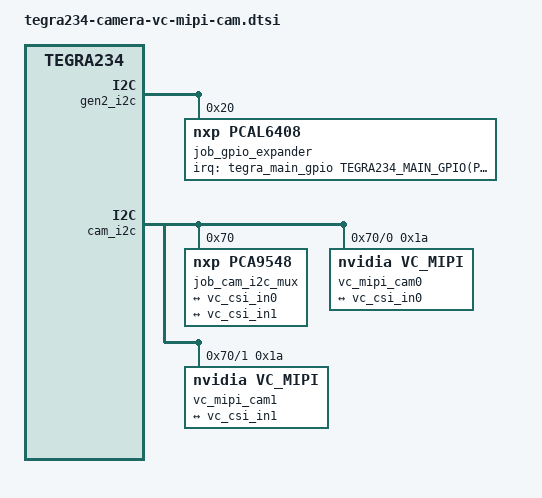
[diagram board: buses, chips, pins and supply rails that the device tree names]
/*
 * Copyright (c) 2024, Vision Components GmbH.  All rights reserved.
 *
 * This program is free software; you can redistribute it and/or modify
 * it under the terms of the GNU General Public License as published by
 * the Free Software Foundation; either version 2 of the License, or
 * (at your option) any later version.
 *
 * This program is distributed in the hope that it will be useful, but WITHOUT
 * ANY WARRANTY; without even the implied warranty of MERCHANTABILITY or
 * FITNESS FOR A PARTICULAR PURPOSE.  See the GNU General Public License for
 * more details.
 *
 * You should have received a copy of the GNU General Public License
 * along with this program.  If not, see <http://www.gnu.org/licenses/>.
 */

#include <dt-bindings/media/camera.h>
#include <dt-bindings/pinctrl/pinctrl-tegra.h>

// ------------------------------------------------------------------------------------------------
//  Driver Configuration for NVIDIA Jetson Orin NX on Auvidea JNX42 LM Developer Kit
// ------------------------------------------------------------------------------------------------
#define VC_MIPI_CAM_0       1   // 1: Enabled, 0: Disabled  (serial_a => CSI Port 0 => VI Stream 0)
#define VC_MIPI_CAM_1       1   // 1: Enabled, 0: Disabled  (serial_c => CSI Port 2 => VI Stream 2)
// ------------------------------------------------------------------------------------------------
//  Supported number of lanes
// -----+------------------------------------------------------------------------------------------
//  1   | OV7251, IMX296, IMX297
//  2   | OV9281, IMX264, IMX265
//  2,4 | IMX178, IMX183, IMX226, IMX250, IMX252, IMX273, IMX290, IMX327, IMX335, IMX392, 
//      | IMX412, IMX415, IMX462, IMX565, IMX566, IMX567, IMX568, IMX900
// -----+------------------------------------------------------------------------------------------
#define VC_MIPI_LANES       4   // 1, 2, 4 Lanes
// ------------------------------------------------------------------------------------------------
//  Embedded Metadata Height
// -----+------------------------------------------------------------------------------------------
//  0   | IMX178, IMX183, IMX226, IMX250, IMX252, IMX264, IMX265, IMX273, IMX392, OV7251, OV9281
//  1   | IMX290, IMX327, IMX335, IMX415, IMX462, IMX900
//  2   | IMX296, IMX297, IMX412
//  4   | IMX565, IMX566, IMX567, IMX568
// -----+------------------------------------------------------------------------------------------
#define VC_MIPI_METADATA_H  "2" // "0", "1", "2", "4" Lines of meta data
// ------------------------------------------------------------------------------------------------
//   Sensor Manufacturer
// -----+------------------------------------------------------------------------------------------
//   1  | Sony Sensor (IMX)
//   2  | Omni Vision Sensor (OV)
// -----+------------------------------------------------------------------------------------------
#define VC_MIPI_MANUFACTURER 1
// ------------------------------------------------------------------------------------------------
//  GStreamer Support
// ------------------------------------------------------------------------------------------------
//  If you want to use GStreamer with nvarguscamerasrc you have to adjust this settings in the 
//  device tree below. The sections which have to be modified are marked by a comment. 
//  To find the correct parameter values please follow the instruction in the main README.md of 
//  this repository https://github.com/VC-MIPI-modules/vc_mipi_nvidia#gstreamer-support
// ------------------------------------------------------------------------------------------------

#if VC_MIPI_LANES == 1
    #define BUS_WIDTH 1
    #define NUM_LANES "1" 
    #define NUM_CSI_LANES 2
    #define PIX_CLK_HZ "150000000"
#endif
#if VC_MIPI_LANES == 2
    #define BUS_WIDTH 2
    #define NUM_LANES "2" 
    #define NUM_CSI_LANES 4
    #define PIX_CLK_HZ "300000000"
#endif
#if VC_MIPI_LANES == 4
    #define BUS_WIDTH 4
    #define NUM_LANES "4" 
    #define NUM_CSI_LANES 8
    #define PIX_CLK_HZ "600000000"
#endif

#if VC_MIPI_CAM_0 == 1 && VC_MIPI_CAM_1 == 1
    #define VC_MIPI_CAMERAS 2
#else
    #define VC_MIPI_CAMERAS 1
#endif

// GPIO Expander

&gen2_i2c {
	job_gpio_expander: gpio@20 {
		compatible = "nxp,pcal6408";
		status = "okay";
		reg = <0x20>;
		gpio-controller;
		#gpio-cells = <2>;
		gpio-line-names =
			"CSIA_PEN",
			"CSIB_PEN",
			"USBC1_PEN",
			"DISABLE_POE_DCDC",
			"CSIA_FLG",
			"CSIB_FLG",
			"USBC1_FLG",
			"USBC0_FLG";
		interrupt-parent = <&tegra_main_gpio>;
		interrupts = <TEGRA234_MAIN_GPIO(P, 6) GPIO_ACTIVE_LOW>;
		interrupt-controller;
		#interrupt-cells = <2>;

        // lock CSI A cameras always-on
		csia_pen-hog {
			gpio-hog;
			gpios = <0 GPIO_ACTIVE_HIGH>;
			output-high;
		};
        // lock CSI B cameras always-OFF (since we're not using it)
		csib_pen-hog {
			gpio-hog;
			gpios = <1 GPIO_ACTIVE_HIGH>;
			output-low;
		};

        // other stuff cribbed from the antmicro dtsi, not sure if it's necessary but here it is in case
		usbc1_pen-hog {
			gpio-hog;
			gpios = <2 GPIO_ACTIVE_HIGH>;
			output-high;
		};
		disable_poe_dcdc-hog {
			gpio-hog;
			gpios = <3 GPIO_ACTIVE_HIGH>;
			output-low;
		};
	};
};

// i2c mux

&cam_i2c {
	job_cam_i2c_mux: pca9548@70 {
		compatible = "nxp,pca9548";
		status = "okay";
		reg = <0x70>;
		#address-cells = <1>;
		#size-cells = <0>;
                skip_mux_detect = "yes";
 
#if VC_MIPI_CAM_0 == 1
                                        job_cam0_i2c: i2c@0 {
                                                status = "okay";
                                                reg = <0>;
                                                i2c-mux,deselect-on-exit;
                                                #address-cells = <1>;
                                                #size-cells = <0>;

#if VC_MIPI_MANUFACTURER == 1
                                                vc_mipi_cam0: vc_mipi@1a {
                                                        reg                     = <0x1a>;
#else
                                                vc_mipi_cam0: vc_mipi@60 {
                                                        reg                     = <0x60>;
#endif
                                                        //reset-gpios = <&gpio CAM0_PWDN GPIO_ACTIVE_HIGH>;

                                                        compatible              = "nvidia,vc_mipi";
                                                        devnode                 = "video0";
                                                        use_sensor_mode_id      = "false";
                                                        sensor_model            = "vc_mipi";

                                                        num_lanes               = NUM_LANES;
                                                        trigger_mode            = "0";
                                                        io_mode                 = "0";

                                                        // ----------------------------------------------------
                                                        // If you want to use GStreamer with nvarguscamerasrc
                                                        // you have to adjust this settings
                                                        physical_w              = "1.000";
                                                        physical_h              = "1.000";
                                                        // ----------------------------------------------------
                                                        // This node is needed by the Tegra framework.
                                                        // You don't have to change any settings if just want 
                                                        // to use the V4L API.
                                                        mode0 {
                                                                num_lanes                = NUM_LANES;
                                                                tegra_sinterface         = "serial_b";
                                                                embedded_metadata_height = VC_MIPI_METADATA_H;
                                                                readout_orientation      = "0";
                                                                lane_polarity            = "6";

                                                                // ----------------------------------------------------
                                                                // If you want to use GStreamer with nvarguscamerasrc
                                                                // you have to adjust this settings. 
                                                                active_l                 = "0";
                                                                active_t                 = "0";
                                                                active_w                 = "0";
                                                                active_h                 = "0";
                                                                mode_type                = "bayer";
                                                                pixel_phase              = "rggb";
                                                                csi_pixel_bit_depth      = "10";

                                                                min_gain_val             = "0";         // mdB
                                                                max_gain_val             = "48000";     // mdB
                                                                step_gain_val            = "100";       // mdB
                                                                default_gain             = "0";         // mdB

                                                                min_exp_time             = "1";         // us
                                                                max_exp_time             = "1000000";   // us
                                                                step_exp_time            = "1";         // us
                                                                default_exp_time         = "10000";     // us

                                                                // For applications like argus_camera, there should 
                                                                // be a minimal frame rate greater than zero!
                                                                min_framerate            = "100";       // mHz
                                                                max_framerate            = "60000";     // mHz
                                                                step_framerate           = "100";       // mHz
                                                                default_framerate        = "60000";     // mHz
                                                                // ----------------------------------------------------

                                                                gain_factor              = "1000";
                                                                exposure_factor          = "1000000";
                                                                framerate_factor         = "1000";
                                                                inherent_gain            = "1";
                                                                min_hdr_ratio            = "1";
                                                                max_hdr_ratio            = "1";

                                                                line_length              = "0";
                                                                phy_mode                 = "DPHY";
                                                                discontinuous_clk        = "no";
                                                                mclk_khz                 = "24000";
                                                                pix_clk_hz               = PIX_CLK_HZ;
                                                                mclk_multiplier          = "0.0";		// deprecated
                                                                cil_settletime           = "0";
                                                                dpcm_enable              = "false";

                                                                set_mode_delay_ms        = "100000";
                                                        };

                                                        ports {
                                                                #address-cells = <1>;
                                                                #size-cells = <0>;
                                                                port@0 {
                                                                        reg = <0>;
                                                                        vc_mipi_out0: endpoint {
                                                                                port-index = <1>;
                                                                                bus-width = <BUS_WIDTH>;
                                                                                remote-endpoint = <&vc_csi_in0>;
                                                                        };
                                                                };
                                                        };
                                                };
                                        };
#endif

#if VC_MIPI_CAM_1 == 1
                                        job_cam1_i2c: i2c@1 {
                                                status = "okay";
                                                reg = <1>;
                                                i2c-mux,deselect-on-exit;
                                                #address-cells = <1>;
                                                #size-cells = <0>;

#if VC_MIPI_MANUFACTURER == 1
                                                vc_mipi_cam1: vc_mipi@1a {
                                                        reg                     = <0x1a>;
#else
                                                vc_mipi_cam1: vc_mipi@60 {
                                                        reg                     = <0x60>;
#endif
                                                        //reset-gpios = <&gpio CAM1_PWDN GPIO_ACTIVE_HIGH>;

                                                        compatible              = "nvidia,vc_mipi";
                                                        devnode                 = "video1";
                                                        use_sensor_mode_id      = "false";
                                                        sensor_model            = "vc_mipi";

                                                        num_lanes               = NUM_LANES;
                                                        trigger_mode            = "0";
                                                        io_mode                 = "0";

                                                        // ----------------------------------------------------
                                                        // If you want to use GStreamer with nvarguscamerasrc
                                                        // you have to adjust this settings
                                                        physical_w              = "1.000";
                                                        physical_h              = "1.000";
                                                        // ----------------------------------------------------

                                                        mode0 {
                                                                num_lanes                = NUM_LANES;
                                                                tegra_sinterface         = "serial_c";
                                                                embedded_metadata_height = VC_MIPI_METADATA_H;
                                                                readout_orientation      = "0";
                                                                lane_polarity            = "0";

                                                                // ----------------------------------------------------
                                                                // If you want to use GStreamer with nvarguscamerasrc
                                                                // you have to adjust this settings. 
                                                                active_l                 = "0";
                                                                active_t                 = "0";
                                                                active_w                 = "0";
                                                                active_h                 = "0";
                                                                mode_type                = "bayer";
                                                                pixel_phase              = "rggb";
                                                                csi_pixel_bit_depth      = "10";

                                                                min_gain_val             = "0";         // mdB
                                                                max_gain_val             = "48000";     // mdB
                                                                step_gain_val            = "100";       // mdB
                                                                default_gain             = "0";         // mdB

                                                                min_exp_time             = "1";         // us
                                                                max_exp_time             = "1000000";   // us
                                                                step_exp_time            = "1";         // us
                                                                default_exp_time         = "10000";     // us

                                                                // For applications like argus_camera, there should 
                                                                // be a minimal frame rate greater than zero!
                                                                min_framerate            = "100";       // mHz
                                                                max_framerate            = "60000";     // mHz
                                                                step_framerate           = "100";       // mHz
                                                                default_framerate        = "60000";     // mHz
                                                                // ----------------------------------------------------

                                                                gain_factor              = "1000";
                                                                exposure_factor          = "1000000";
                                                                framerate_factor         = "1000";
                                                                inherent_gain            = "1";
                                                                min_hdr_ratio            = "1";
                                                                max_hdr_ratio            = "1";

                                                                line_length              = "0";
                                                                phy_mode                 = "DPHY";
                                                                discontinuous_clk        = "no";
                                                                mclk_khz                 = "24000";
                                                                pix_clk_hz               = PIX_CLK_HZ;
                                                                mclk_multiplier          = "0.0";		// deprecated
                                                                cil_settletime           = "0";
                                                                dpcm_enable              = "false";

                                                                set_mode_delay_ms        = "100000";
                                                        };

                                                        ports {
                                                                #address-cells = <1>;
                                                                #size-cells = <0>;
                                                                port@0 {
                                                                        reg = <0>;
                                                                        vc_mipi_out1: endpoint {
                                                                                port-index = <2>;
                                                                                bus-width = <BUS_WIDTH>;
                                                                                remote-endpoint = <&vc_csi_in1>;
                                                                        };
                                                                };
                                                        };
                                                };
                                        };
#endif
    };
};

/ {
        tegra-capture-vi  {
                num-channels = <VC_MIPI_CAMERAS>;
                ports {
                        #address-cells = <1>;
                        #size-cells = <0>;
#if VC_MIPI_CAM_0 == 1
                        vc_vi_port0: port@0 {
                                reg = <0>;
                                vc_vi_in0: endpoint {
                                        port-index = <0>;
                                        bus-width = <BUS_WIDTH>;
                                        remote-endpoint = <&vc_csi_out0>;
                                };
                        };
#endif
#if VC_MIPI_CAM_1 == 1
                        vc_vi_port1: port@1 {
                                reg = <1>;
                                vc_vi_in1: endpoint {
                                        port-index = <2>;
                                        bus-width = <BUS_WIDTH>;
                                        remote-endpoint = <&vc_csi_out1>;
                                };
                        };
#endif
                }; // ports
        };

        host1x@13e00000 {
                nvcsi@15a00000 {
                        num-channels = <VC_MIPI_CAMERAS>;
                        #address-cells = <1>;
                        #size-cells = <0>;
#if VC_MIPI_CAM_0 == 1
                        vc_csi_chan0: channel@0 {
                                reg = <0>;
                                ports {
                                        #address-cells = <1>;
                                        #size-cells = <0>;
                                                vc_csi_chan0_port0: port@0 {
                                                reg = <0>;
                                                vc_csi_in0: endpoint@0 {
                                                        port-index = <0>;
                                                        bus-width = <BUS_WIDTH>;
                                                        remote-endpoint = <&vc_mipi_out0>;
                                                };
                                        };
                                        vc_csi_chan0_port1: port@1 {
                                                reg = <1>;
                                                vc_csi_out0: endpoint@1 {
                                                        remote-endpoint = <&vc_vi_in0>;
                                                };
                                        };
                                };
                        };
#endif

#if VC_MIPI_CAM_1 == 1
                        vc_csi_chan1: channel@1 {
                                reg = <1>;
                                ports {
                                        #address-cells = <1>;
                                        #size-cells = <0>;
                                        vc_csi_chan1_port0: port@0 {
                                                reg = <0>;
                                                vc_csi_in1: endpoint@2 {
                                                        port-index = <2>;
                                                        bus-width = <BUS_WIDTH>;
                                                        remote-endpoint = <&vc_mipi_out1>;
                                                };
                                        };
                                        vc_csi_chan1_port1: port@1 {
                                                reg = <1>;
                                                vc_csi_out1: endpoint@3 {
                                                        remote-endpoint = <&vc_vi_in1>;
                                                };
                                        };
                                };
                        };
#endif
                };
        };

        lens@vc_mipi {
                min_focus_distance  = "0.0";
                hyper_focal         = "0.0";
                focal_length        = "6.0";
                f_number            = "2.0";
                aperture            = "0.0";
        };


	/*
	 * Assign fixed I2C bus numbers (visible as /dev/i2c-*)
	 * to muxed CAM I2C interfaces
	 */
	aliases {
#if VC_MIPI_CAM_0 == 1
		i2c16 = &job_cam0_i2c;
#endif // VC_MIPI_CAM_0
#if VC_MIPI_CAM_0 == 1
		i2c17 = &job_cam1_i2c;
#endif // VC_MIPI_CAM_0
/* these are defined in Antmicro's devicetree but are unused in this context
		i2c18 = &job_cam2_i2c;
		i2c19 = &job_cam3_i2c;
*/
	};
};
